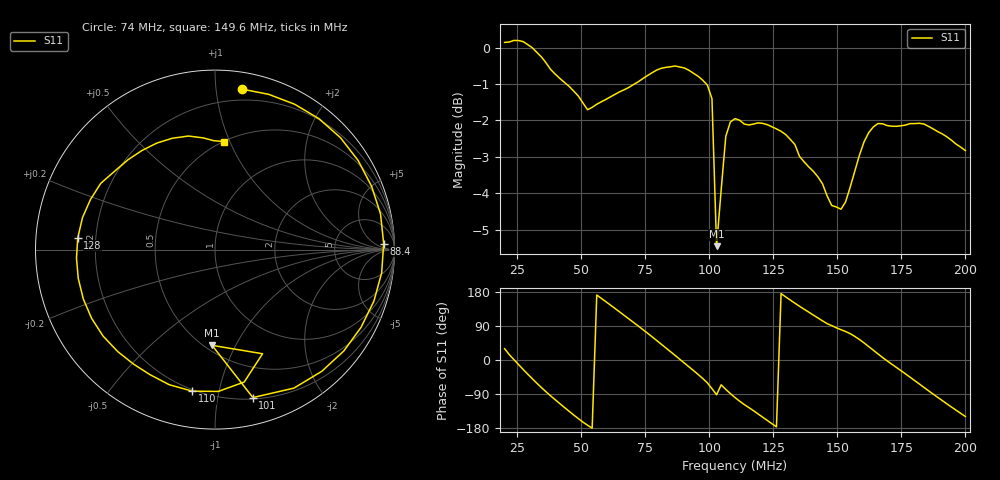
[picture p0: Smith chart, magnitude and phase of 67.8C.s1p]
# HZ S RI R 50
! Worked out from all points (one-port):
!   101 points, 20 MHz to 200 MHz, reference 50 ohm
!   lowest |S11| = -5.5 dB at 102.8 MHz (marker M1), VSWR 3.29, Z = 27.1 - j40.5 ohm
!   |S11| at or under -10 dB: nowhere
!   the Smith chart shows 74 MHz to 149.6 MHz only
!   S11 on the Smith chart (normalised r, x): 74 MHz: 0.12, +1.18; 88.4 MHz: 24, +14; 101 MHz: 0.21, -1.27; 110 MHz: 0.19, -0.83; 128 MHz: 0.13, +0.04; 149.6 MHz: 0.50, +0.96
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2e7  0.8822 0.5049
2.54e7  1.001 -0.2076
3.26e7  0.4734 -0.8638
3.8e7  -0.078 -0.9297
4.34e7  -0.5183 -0.7304
4.88e7  -0.7755 -0.367
5.42e7  -0.8278 -0.0019
6.5e7  -0.5173 0.6992
7.4e7  0.1523 0.8938
8.12e7  0.6987 0.6238
8.84e7  0.9398 0.0338
9.56e7  0.7177 -0.5647
1.01e8  0.2109 -0.8243
1.028e8  -0.0163 -0.5335
1.046e8  0.2649 -0.5802
1.1e8  -0.1259 -0.7888
1.208e8  -0.6873 -0.3831
1.28e8  -0.7647 0.0647
1.334e8  -0.6369 0.3688
1.424e8  -0.2381 0.6203
1.496e8  0.0526 0.6018
1.55e8  0.2259 0.6023
1.604e8  0.5231 0.5263
1.676e8  0.7804 0.0934
1.784e8  0.5518 -0.5602
1.838e8  0.2391 -0.7481
1.892e8  -0.1152 -0.7579
2e8  -0.6199 -0.37
